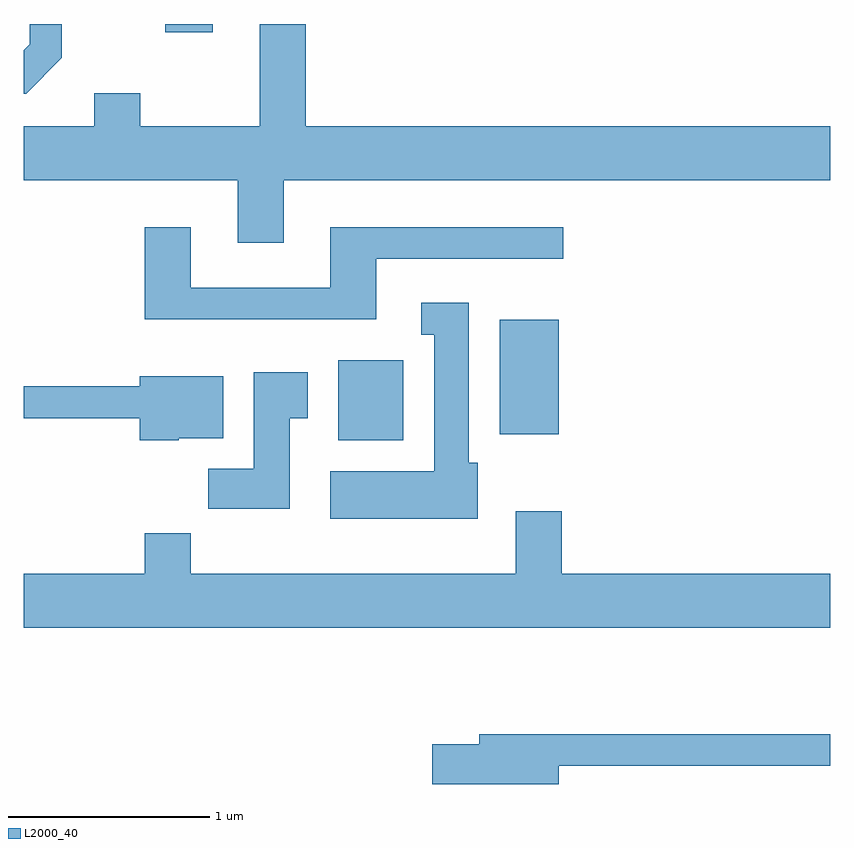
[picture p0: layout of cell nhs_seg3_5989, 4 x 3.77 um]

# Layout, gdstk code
import gdstk
lib = gdstk.Library(unit=1e-6, precision=1e-09)
def R(c, l, rs):  # rectangles x0, y0, x1, y1
    for r in rs: c.add(gdstk.rectangle(r[:2], r[2:], *l))
def P(c, l, *ps):  # polygons
    for p in ps: c.add(gdstk.Polygon(p, *l))
L2000_40 = (2000, 40)

nhs_seg3_5989 = lib.new_cell('nhs_seg3_5989')
R(nhs_seg3_5989, L2000_40, [(363.171,1135.826,363.494,1136.224), (363.971,1135.856,364.264,1136.424), (362.313,1137.851,362.549,1137.892)])
P(nhs_seg3_5989, L2000_40, [(362.899,1137.116),(365.611,1137.116),(365.611,1137.384),(363.009,1137.384),(363.009,1137.892),(362.781,1137.892),(362.781,1137.384),(362.189,1137.384),(362.189,1137.549),(361.961,1137.549),(361.961,1137.384),(361.611,1137.384),(361.611,1137.116),(362.671,1137.116),(362.671,1136.806),(362.899,1136.806)],
  [(361.799,1137.724),(361.799,1137.892),(361.641,1137.892),(361.641,1137.792),(361.611,1137.762),(361.611,1137.546),(361.622,1137.546)],
  [(363.359,1136.726),(364.288,1136.726),(364.288,1136.884),(363.131,1136.884),(363.131,1136.584),(362.439,1136.584),(362.439,1136.884),(362.211,1136.884),(362.211,1136.426),(363.359,1136.426)],
  [(363.864,1135.714),(363.819,1135.714),(363.819,1136.509),(363.583,1136.509),(363.583,1136.351),(363.646,1136.351),(363.646,1135.674),(363.131,1135.674),(363.131,1135.436),(363.864,1135.436)],
  [(362.929,1135.936),(363.019,1135.936),(363.019,1136.164),(362.751,1136.164),(362.751,1135.684),(362.526,1135.684),(362.526,1135.486),(362.929,1135.486)],
  [(362.38,1135.836),(362.599,1135.836),(362.599,1136.144),(362.186,1136.144),(362.186,1136.094),(361.611,1136.094),(361.611,1135.936),(362.186,1135.936),(362.186,1135.826),(362.38,1135.826)],
  [(365.611,1135.164),(364.279,1135.164),(364.279,1135.474),(364.051,1135.474),(364.051,1135.164),(362.439,1135.164),(362.439,1135.364),(362.211,1135.364),(362.211,1135.164),(361.611,1135.164),(361.611,1134.896),(365.611,1134.896)],
  [(364.264,1134.211),(365.611,1134.211),(365.611,1134.369),(363.871,1134.369),(363.871,1134.319),(363.636,1134.319),(363.636,1134.121),(364.264,1134.121)])

lib.write_gds('nhs_seg3_5989.gds')
